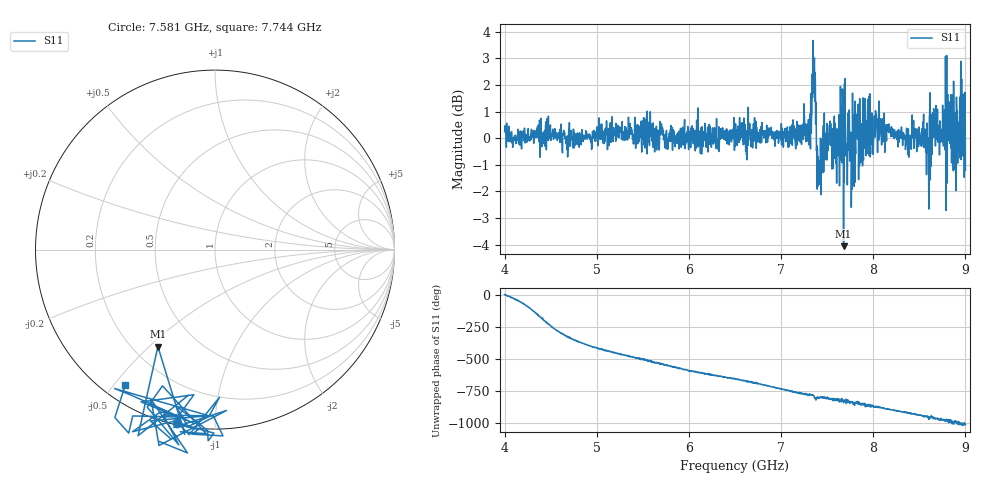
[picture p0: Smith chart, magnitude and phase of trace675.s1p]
! Created with skrf 1.8.0 (http://scikit-rf.org).
# Hz S RI R 50.0
!freq ReS11 ImS11
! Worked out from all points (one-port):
!   1601 points, 4 GHz to 9 GHz, reference 50 ohm
!   lowest |S11| = -4.1 dB at 7.678 GHz (marker M1), VSWR 4.36, Z = 15 - j26.6 ohm
!   |S11| at or under -10 dB: nowhere
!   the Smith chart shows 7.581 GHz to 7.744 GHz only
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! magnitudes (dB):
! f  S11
! 4 GHz  0.2
! 4.625 GHz  -0.4
! 5.25 GHz  0.4
! 5.875 GHz  0.1
! 6.5 GHz  0.2
! 7.125 GHz  0.2
! 7.294 GHz  -0.1
! 7.356 GHz  2.5
! 7.409 GHz  -1.5
! 7.506 GHz  -0.4
! 7.616 GHz  0.3
! 7.65 GHz  1.2
! 7.678 GHz  -4.1
! 7.75 GHz  0.2
! 7.769 GHz  -0.7
! 7.828 GHz  0.4
! 7.881 GHz  0.4
! 7.962 GHz  1.7
! 7.981 GHz  -0.2
! 8.375 GHz  -0.6
! 8.55 GHz  -0.4
! 8.603 GHz  -2.7
! 8.656 GHz  1.1
! 8.725 GHz  0.1
! 8.822 GHz  1.2
! 8.875 GHz  0.4
! 8.959 GHz  2.2
! 9 GHz  -1.2
